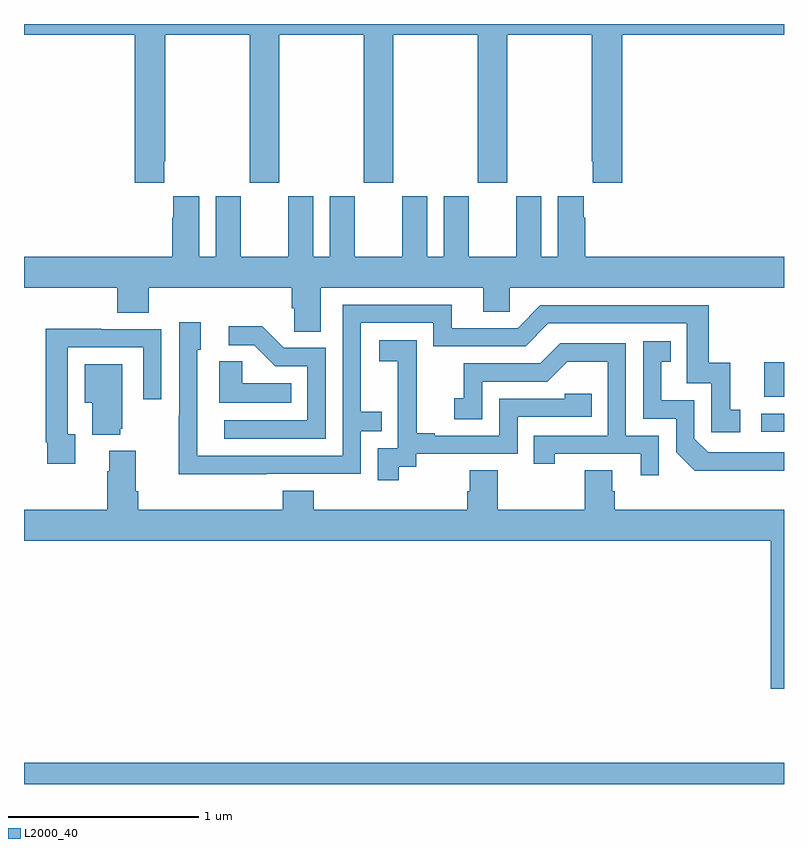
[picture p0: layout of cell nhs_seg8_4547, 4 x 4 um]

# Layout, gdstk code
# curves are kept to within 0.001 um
import gdstk
lib = gdstk.Library(unit=1e-6, precision=1e-09)
def R(c, l, rs):  # rectangles x0, y0, x1, y1
    for r in rs: c.add(gdstk.rectangle(r[:2], r[2:], *l))
def P(c, l, *ps):  # polygons
    for p in ps: c.add(gdstk.Polygon(p, *l))
L2000_40 = (2000, 40)

nhs_seg8_4547 = lib.new_cell('nhs_seg8_4547')
R(nhs_seg8_4547, L2000_40, [(387,1101.9,391,1102.012), (390.879,1103.754,391,1103.85), (390.896,1103.939,391,1104.121)])
P(nhs_seg8_4547, L2000_40, [(387.739,1105.177),(387.744,1105.177),(387.744,1105.844),(388.189,1105.844),(388.189,1105.065),(388.344,1105.065),(388.344,1105.844),(388.789,1105.844),(388.789,1105.065),(388.944,1105.065),(388.944,1105.844),(389.389,1105.844),(389.389,1105.065),(389.544,1105.065),(389.544,1105.844),(389.989,1105.844),(389.989,1105.177),(389.993,1105.177),(389.993,1105.065),(390.149,1105.065),(390.149,1105.844),(391,1105.844),(391,1105.9),(387,1105.9),(387,1105.844),(387.584,1105.844),(387.584,1105.065),(387.739,1105.065)],
  [(388.561,1104.512),(389.417,1104.512),(389.417,1104.385),(389.556,1104.385),(389.556,1104.512),(391,1104.512),(391,1104.676),(389.954,1104.676),(389.954,1104.881),(389.947,1104.881),(389.947,1104.994),(389.81,1104.994),(389.81,1104.676),(389.722,1104.676),(389.722,1104.994),(389.591,1104.994),(389.591,1104.676),(389.341,1104.676),(389.341,1104.994),(389.21,1104.994),(389.21,1104.676),(389.122,1104.676),(389.122,1104.994),(388.991,1104.994),(388.991,1104.676),(388.741,1104.676),(388.741,1104.994),(388.61,1104.994),(388.61,1104.676),(388.522,1104.676),(388.522,1104.994),(388.391,1104.994),(388.391,1104.676),(388.141,1104.676),(388.141,1104.994),(388.01,1104.994),(388.01,1104.676),(387.922,1104.676),(387.922,1104.994),(387.785,1104.994),(387.785,1104.881),(387.779,1104.881),(387.779,1104.676),(387,1104.676),(387,1104.512),(387.491,1104.512),(387.491,1104.379),(387.656,1104.379),(387.656,1104.512),(388.409,1104.512),(388.409,1104.403),(388.422,1104.403),(388.422,1104.28),(388.561,1104.28)],
  [(388.277,1103.532),(388.773,1103.532),(388.773,1103.757),(388.883,1103.757),(388.883,1103.858),(388.773,1103.858),(388.773,1104.327),(389.154,1104.327),(389.154,1104.204),(389.64,1104.204),(389.76,1104.324),(390.489,1104.324),(390.489,1104.009),(390.618,1104.009),(390.618,1103.751),(390.769,1103.751),(390.769,1103.871),(390.716,1103.871),(390.716,1104.118),(390.605,1104.118),(390.605,1104.42),(389.718,1104.42),(389.598,1104.3),(389.251,1104.3),(389.251,1104.423),(388.677,1104.423),(388.677,1103.628),(387.912,1103.628),(387.912,1104.186),(387.931,1104.186),(387.931,1104.331),(387.816,1104.331),(387.816,1103.837),(387.814,1103.837),(387.814,1103.531)],
  [(388.587,1104.195),(388.368,1104.195),(388.255,1104.308),(388.077,1104.308),(388.077,1104.21),(388.211,1104.21),(388.322,1104.099),(388.491,1104.099),(388.491,1103.814),(388.053,1103.814),(388.053,1103.718),(388.587,1103.718)],
  [(387.271,1103.742),(387.231,1103.742),(387.231,1104.198),(387.627,1104.198),(387.627,1103.925),(387.723,1103.925),(387.723,1104.294),(387.407,1104.294),(387.407,1104.296),(387.115,1104.296),(387.115,1103.698),(387.123,1103.698),(387.123,1103.586),(387.271,1103.586)],
  [(388.972,1103.569),(389.064,1103.569),(389.064,1103.637),(389.598,1103.637),(389.598,1103.832),(389.987,1103.832),(389.987,1103.955),(389.847,1103.955),(389.847,1103.928),(389.502,1103.928),(389.502,1103.733),(389.161,1103.733),(389.161,1103.746),(389.066,1103.746),(389.066,1104.029),(389.067,1104.029),(389.067,1104.235),(388.869,1104.235),(388.869,1104.125),(388.967,1104.125),(388.967,1103.897),(388.968,1103.897),(388.968,1103.667),(388.863,1103.667),(388.863,1103.499),(388.972,1103.499)],
  [(390.938,1103.55),(391,1103.55),(391,1103.646),(390.6,1103.646),(390.528,1103.718),(390.528,1103.919),(390.355,1103.919),(390.355,1104.123),(390.404,1104.123),(390.404,1104.229),(390.258,1104.229),(390.258,1103.823),(390.432,1103.823),(390.432,1103.646),(390.53,1103.549)],
  [(390.342,1103.733),(390.168,1103.733),(390.168,1104.219),(389.822,1104.219),(389.717,1104.114),(389.314,1104.114),(389.314,1103.929),(389.265,1103.929),(389.265,1103.82),(389.412,1103.82),(389.412,1104.018),(389.754,1104.018),(389.858,1104.122),(390.072,1104.122),(390.072,1103.733),(389.683,1103.733),(389.683,1103.586),(389.794,1103.586),(389.794,1103.637),(390.245,1103.637),(390.245,1103.526),(390.342,1103.526)],
  [(388.406,1104.01),(388.149,1104.01),(388.149,1104.125),(388.028,1104.125),(388.028,1103.906),(388.406,1103.906)],
  [(387.506,1103.769),(387.517,1103.769),(387.517,1104.109),(387.32,1104.109),(387.32,1103.906),(387.359,1103.906),(387.359,1103.738),(387.506,1103.738)],
  [(391,1103.344),(390.11,1103.344),(390.11,1103.442),(390.097,1103.442),(390.097,1103.552),(389.95,1103.552),(389.95,1103.344),(389.493,1103.344),(389.493,1103.552),(389.345,1103.552),(389.345,1103.442),(389.333,1103.442),(389.333,1103.344),(388.526,1103.344),(388.526,1103.443),(388.361,1103.443),(388.361,1103.344),(387.602,1103.344),(387.602,1103.44),(387.589,1103.44),(387.589,1103.653),(387.449,1103.653),(387.449,1103.546),(387.437,1103.546),(387.437,1103.344),(387,1103.344),(387,1103.18),(390.929,1103.18),(390.929,1102.401),(391,1102.401)])

lib.write_gds('nhs_seg8_4547.gds')
